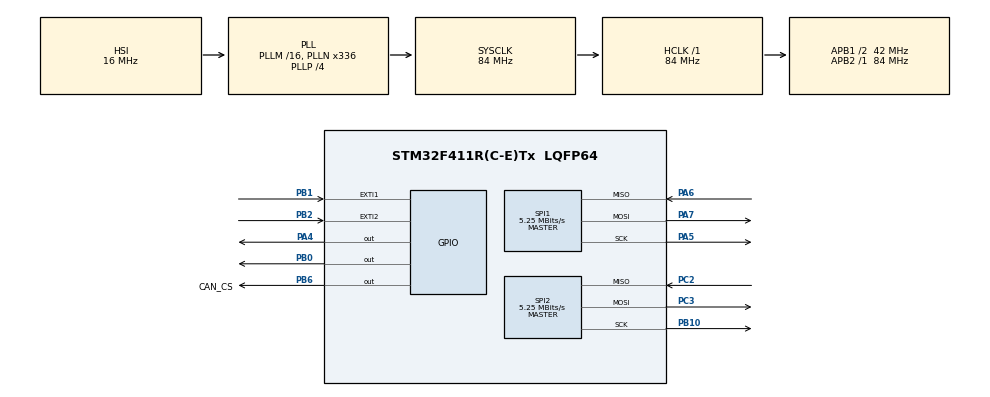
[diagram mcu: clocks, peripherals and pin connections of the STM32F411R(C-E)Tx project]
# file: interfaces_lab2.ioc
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Mcu.Family=STM32F4
Mcu.Name=STM32F411R(C-E)Tx
Mcu.Package=LQFP64
NVIC.EXTI1_IRQn=true\:0\:0\:false\:false\:true\:true\:true
NVIC.EXTI2_IRQn=true\:0\:0\:false\:false\:true\:true\:true
NVIC.PriorityGroup=NVIC_PRIORITYGROUP_0
PA13.GPIO_Label=TMS
PA13.Mode=Serial_Wire
PA13.Signal=SYS_JTMS-SWDIO
PA14.GPIO_Label=TCK
PA14.Mode=Serial_Wire
PA14.Signal=SYS_JTCK-SWCLK
PA4.Signal=GPIO_Output
PA5.Mode=Full_Duplex_Master
PA5.Signal=SPI1_SCK
PA6.Mode=Full_Duplex_Master
PA6.Signal=SPI1_MISO
PA7.Mode=Full_Duplex_Master
PA7.Signal=SPI1_MOSI
PB0.Signal=GPIO_Output
PB1.Signal=GPXTI1
PB10.Mode=Full_Duplex_Master
PB10.Signal=SPI2_SCK
PB2.Signal=GPXTI2
PB3.GPIO_Label=SWO
PB3.Signal=SYS_JTDO-SWO
PB6.GPIO_Label=CAN_CS
PB6.GPIO_Speed=GPIO_SPEED_FREQ_MEDIUM
PB6.PinState=GPIO_PIN_SET
PB6.Signal=GPIO_Output
PC2.Mode=Full_Duplex_Master
PC2.Signal=SPI2_MISO
PC3.Mode=Full_Duplex_Master
PC3.Signal=SPI2_MOSI
PH0\ -\ OSC_IN.Mode=HSE-External-Oscillator
PH0\ -\ OSC_IN.Signal=RCC_OSC_IN
PH1\ -\ OSC_OUT.Mode=HSE-External-Oscillator
PH1\ -\ OSC_OUT.Signal=RCC_OSC_OUT
ProjectManager.HeapSize=0x200
ProjectManager.StackSize=0x400
ProjectManager.TargetToolchain=TrueSTUDIO
RCC.48MHZClocksFreq_Value=84000000
RCC.AHBFreq_Value=84000000
RCC.APB1CLKDivider=RCC_HCLK_DIV2
RCC.APB1Freq_Value=42000000
RCC.APB1TimFreq_Value=84000000
RCC.APB2Freq_Value=84000000
RCC.APB2TimFreq_Value=84000000
RCC.CortexFreq_Value=84000000
RCC.FLatency-AdvancedSettings=FLASH_LATENCY_2
RCC.HCLKFreq_Value=84000000
RCC.HSE_VALUE=8000000
RCC.HSI_VALUE=16000000
RCC.LSE_VALUE=32768
RCC.PLLN=336
RCC.PLLP=RCC_PLLP_DIV4
RCC.SYSCLKFreq_VALUE=84000000
RCC.SYSCLKSource=RCC_SYSCLKSOURCE_PLLCLK
RCC.VCOOutputFreq_Value=336000000
SPI1.BaudRatePrescaler=SPI_BAUDRATEPRESCALER_16
SPI1.CalculateBaudRate=5.25 MBits/s
SPI1.Direction=SPI_DIRECTION_2LINES
SPI1.Mode=SPI_MODE_MASTER
SPI1.VirtualType=VM_MASTER
SPI2.BaudRatePrescaler=SPI_BAUDRATEPRESCALER_8
SPI2.CalculateBaudRate=5.25 MBits/s
SPI2.Direction=SPI_DIRECTION_2LINES
SPI2.Mode=SPI_MODE_MASTER
SPI2.VirtualType=VM_MASTER
board=NUCLEO-F411RE

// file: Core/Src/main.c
/* USER CODE BEGIN Header */
/**
  ******************************************************************************
  * @file           : main.c
  * @brief          : Main program body
  ******************************************************************************
  * @attention
  *
  * <h2><center>&copy; Copyright (c) 2021 STMicroelectronics.
  * All rights reserved.</center></h2>
  *
  * This software component is licensed by ST under BSD 3-Clause license,
  * the "License"; You may not use this file except in compliance with the
  * License. You may obtain a copy of the License at:
  *                        opensource.org/licenses/BSD-3-Clause
  *
  ******************************************************************************
  */
/* USER CODE END Header */
#include "main.h"
/* USER CODE BEGIN Includes */
#include "CANSPI.h"
#include "MPU9250.h"
#include <math.h>
/* USER CODE END Includes */

SPI_HandleTypeDef hspi1;
SPI_HandleTypeDef hspi2;

/* USER CODE BEGIN PV */
uint8_t irq_mcu9250 = 0;

int32_t ACCEL_X = 0;
int32_t ACCEL_Y = 0;
int32_t ACCEL_Z = 0;

int32_t ACCEL_XANGLE = 0;
int32_t ACCEL_YANGLE = 0;
int32_t ACCEL_ZANGLE = 0;

uCAN_MSG txMessage;
uCAN_MSG rxMessage;

/* USER CODE END PV */

void SystemClock_Config(void);
static void MX_GPIO_Init(void);
static void MX_SPI1_Init(void);
static void MX_SPI2_Init(void);
/* USER CODE BEGIN PFP */
void PhysVectorsToAccel();
void AccelToAngel();
void SerializeData(char* buff, int16_t val1, int16_t val2, int16_t val3);
/* USER CODE END PFP */

int main(void)
{

  /* MCU Configuration--------------------------------------------------------*/

  /* Reset of all peripherals, Initializes the Flash interface and the Systick. */
  HAL_Init();

  /* Configure the system clock */
  SystemClock_Config();

  /* Initialize all configured peripherals */
  MX_GPIO_Init();
  MX_SPI1_Init();
  MX_SPI2_Init();
  /* USER CODE BEGIN 2 */
  int st;
  st = MPU_begin();
  HAL_Delay(100);
  enableDataReadyInterrupt();
  HAL_Delay(100);
  setSrd(0);

  CANSPI_Initialize();
  /* USER CODE END 2 */

  /* Infinite loop */
  while (1)
  {

    /* USER CODE BEGIN 3 */
	  if(irq_mcu9250 == 1) {
		  irq_mcu9250 = 0;

		  if(CANSPI_Receive(&rxMessage)) { //if received request frame
			  AccelToAngel(); //get angels in global vars

			if(rxMessage.frame.id == 0x12) { //id frame that request ACCEL_XANGLE
				txMessage.frame.idType = rxMessage.frame.idType;
				txMessage.frame.id = rxMessage.frame.id;
				txMessage.frame.dlc = rxMessage.frame.dlc;
				txMessage.frame.data0 = (ACCEL_XANGLE >> 24) & 0xFF;
				txMessage.frame.data1 = (ACCEL_XANGLE >> 16) & 0xFF;
				txMessage.frame.data2 = (ACCEL_XANGLE >> 8) & 0xFF;
				txMessage.frame.data3 = ACCEL_XANGLE & 0xFF;
				txMessage.frame.data4 = 0;
				txMessage.frame.data5 = 0;
				txMessage.frame.data6 = 0;
				txMessage.frame.data7 = 0;
				CANSPI_Transmit(&txMessage);

			} else if(rxMessage.frame.id == 0x13) { //id frame that request ACCEL_YANGLE
				txMessage.frame.idType = rxMessage.frame.idType;
				txMessage.frame.id = rxMessage.frame.id;
				txMessage.frame.dlc = rxMessage.frame.dlc;
				txMessage.frame.data0 = (ACCEL_YANGLE >> 24) & 0xFF;
				txMessage.frame.data1 = (ACCEL_YANGLE >> 16) & 0xFF;
				txMessage.frame.data2 = (ACCEL_YANGLE >> 8) & 0xFF;
				txMessage.frame.data3 = ACCEL_YANGLE & 0xFF;
				txMessage.frame.data4 = 0;
				txMessage.frame.data5 = 0;
				txMessage.frame.data6 = 0;
				txMessage.frame.data7 = 0;
				CANSPI_Transmit(&txMessage);

			} else if(rxMessage.frame.id == 0x14) { //id frame that request ACCEL_ZANGLE
				txMessage.frame.idType = rxMessage.frame.idType;
				txMessage.frame.id = rxMessage.frame.id;
				txMessage.frame.dlc = rxMessage.frame.dlc;
				txMessage.frame.data0 = (ACCEL_ZANGLE >> 24) & 0xFF;
				txMessage.frame.data1 = (ACCEL_ZANGLE >> 16) & 0xFF;
				txMessage.frame.data2 = (ACCEL_ZANGLE >> 8) & 0xFF;
				txMessage.frame.data3 = ACCEL_ZANGLE & 0xFF;
				txMessage.frame.data4 = 0;
				txMessage.frame.data5 = 0;
				txMessage.frame.data6 = 0;
				txMessage.frame.data7 = 0;
				CANSPI_Transmit(&txMessage);
			}
		  }

		  //Send 3-axys accel in package every 800ms
		  PhysVectorsToAccel(); //get accel in global vars

		  //Package 1. Transmit ACCEL_X
		  txMessage.frame.idType = dSTANDARD_CAN_MSG_ID_2_0B;
		  txMessage.frame.id = 0x82; //id packages with accel
		  txMessage.frame.dlc = 8;
		  txMessage.frame.data0 = (ACCEL_X >> 24) & 0xFF;
		  txMessage.frame.data1 = (ACCEL_X >> 16) & 0xFF;
		  txMessage.frame.data2 = (ACCEL_X >> 8) & 0xFF;
		  txMessage.frame.data3 = ACCEL_X & 0xFF;
		  txMessage.frame.data4 = 0;
		  txMessage.frame.data5 = 0;
		  txMessage.frame.data6 = 0;
		  txMessage.frame.data7 = 0;
		  CANSPI_Transmit(&txMessage);

		  //Package 2. Transmit ACCEL_Y
		  txMessage.frame.idType = dSTANDARD_CAN_MSG_ID_2_0B;
		  txMessage.frame.id = 0x83; //id packages with accel
		  txMessage.frame.dlc = 8;
		  txMessage.frame.data0 = (ACCEL_Y >> 24) & 0xFF;
		  txMessage.frame.data1 = (ACCEL_Y >> 16) & 0xFF;
		  txMessage.frame.data2 = (ACCEL_Y >> 8) & 0xFF;
		  txMessage.frame.data3 = ACCEL_Y & 0xFF;
		  txMessage.frame.data4 = 0;
		  txMessage.frame.data5 = 0;
		  txMessage.frame.data6 = 0;
		  txMessage.frame.data7 = 0;
		  CANSPI_Transmit(&txMessage);

		  //Package 3. Transmit ACCEL_Z
		  txMessage.frame.idType = dSTANDARD_CAN_MSG_ID_2_0B;
		  txMessage.frame.id = 0x84; //id packages with accel
		  txMessage.frame.dlc = 8;
		  txMessage.frame.data0 = (ACCEL_Z >> 24) & 0xFF;
		  txMessage.frame.data1 = (ACCEL_Z >> 16) & 0xFF;
		  txMessage.frame.data2 = (ACCEL_Z >> 8) & 0xFF;
		  txMessage.frame.data3 = ACCEL_Z & 0xFF;
		  txMessage.frame.data4 = 0;
		  txMessage.frame.data5 = 0;
		  txMessage.frame.data6 = 0;
		  txMessage.frame.data7 = 0;
		  CANSPI_Transmit(&txMessage);

		  HAL_Delay(800);
	  }
  }
  /* USER CODE END 3 */
}

void SystemClock_Config(void)
{
  RCC_OscInitTypeDef RCC_OscInitStruct = {0};
  RCC_ClkInitTypeDef RCC_ClkInitStruct = {0};

  /** Configure the main internal regulator output voltage
  */
  __HAL_RCC_PWR_CLK_ENABLE();
  __HAL_PWR_VOLTAGESCALING_CONFIG(PWR_REGULATOR_VOLTAGE_SCALE1);
  /** Initializes the RCC Oscillators according to the specified parameters
  * in the RCC_OscInitTypeDef structure.
  */
  RCC_OscInitStruct.OscillatorType = RCC_OSCILLATORTYPE_HSI;
  RCC_OscInitStruct.HSIState = RCC_HSI_ON;
  RCC_OscInitStruct.HSICalibrationValue = RCC_HSICALIBRATION_DEFAULT;
  RCC_OscInitStruct.PLL.PLLState = RCC_PLL_ON;
  RCC_OscInitStruct.PLL.PLLSource = RCC_PLLSOURCE_HSI;
  RCC_OscInitStruct.PLL.PLLM = 16;
  RCC_OscInitStruct.PLL.PLLN = 336;
  RCC_OscInitStruct.PLL.PLLP = RCC_PLLP_DIV4;
  RCC_OscInitStruct.PLL.PLLQ = 4;
  if (HAL_RCC_OscConfig(&RCC_OscInitStruct) != HAL_OK)
  {
    Error_Handler();
  }
  /** Initializes the CPU, AHB and APB buses clocks
  */
  RCC_ClkInitStruct.ClockType = RCC_CLOCKTYPE_HCLK|RCC_CLOCKTYPE_SYSCLK
                              |RCC_CLOCKTYPE_PCLK1|RCC_CLOCKTYPE_PCLK2;
  RCC_ClkInitStruct.SYSCLKSource = RCC_SYSCLKSOURCE_PLLCLK;
  RCC_ClkInitStruct.AHBCLKDivider = RCC_SYSCLK_DIV1;
  RCC_ClkInitStruct.APB1CLKDivider = RCC_HCLK_DIV2;
  RCC_ClkInitStruct.APB2CLKDivider = RCC_HCLK_DIV1;

  if (HAL_RCC_ClockConfig(&RCC_ClkInitStruct, FLASH_LATENCY_2) != HAL_OK)
  {
    Error_Handler();
  }
}

static void MX_SPI1_Init(void)
{

  /* SPI1 parameter configuration*/
  hspi1.Instance = SPI1;
  hspi1.Init.Mode = SPI_MODE_MASTER;
  hspi1.Init.Direction = SPI_DIRECTION_2LINES;
  hspi1.Init.DataSize = SPI_DATASIZE_8BIT;
  hspi1.Init.CLKPolarity = SPI_POLARITY_LOW;
  hspi1.Init.CLKPhase = SPI_PHASE_1EDGE;
  hspi1.Init.NSS = SPI_NSS_SOFT;
  hspi1.Init.BaudRatePrescaler = SPI_BAUDRATEPRESCALER_16;
  hspi1.Init.FirstBit = SPI_FIRSTBIT_MSB;
  hspi1.Init.TIMode = SPI_TIMODE_DISABLE;
  hspi1.Init.CRCCalculation = SPI_CRCCALCULATION_DISABLE;
  hspi1.Init.CRCPolynomial = 10;
  if (HAL_SPI_Init(&hspi1) != HAL_OK)
  {
    Error_Handler();
  }

}

static void MX_SPI2_Init(void)
{

  /* SPI2 parameter configuration*/
  hspi2.Instance = SPI2;
  hspi2.Init.Mode = SPI_MODE_MASTER;
  hspi2.Init.Direction = SPI_DIRECTION_2LINES;
  hspi2.Init.DataSize = SPI_DATASIZE_8BIT;
  hspi2.Init.CLKPolarity = SPI_POLARITY_LOW;
  hspi2.Init.CLKPhase = SPI_PHASE_1EDGE;
  hspi2.Init.NSS = SPI_NSS_SOFT;
  hspi2.Init.BaudRatePrescaler = SPI_BAUDRATEPRESCALER_8;
  hspi2.Init.FirstBit = SPI_FIRSTBIT_MSB;
  hspi2.Init.TIMode = SPI_TIMODE_DISABLE;
  hspi2.Init.CRCCalculation = SPI_CRCCALCULATION_DISABLE;
  hspi2.Init.CRCPolynomial = 10;
  if (HAL_SPI_Init(&hspi2) != HAL_OK)
  {
    Error_Handler();
  }

}

static void MX_GPIO_Init(void)
{
  GPIO_InitTypeDef GPIO_InitStruct = {0};

  /* GPIO Ports Clock Enable */
  __HAL_RCC_GPIOH_CLK_ENABLE();
  __HAL_RCC_GPIOC_CLK_ENABLE();
  __HAL_RCC_GPIOA_CLK_ENABLE();
  __HAL_RCC_GPIOB_CLK_ENABLE();

  /*Configure GPIO pin Output Level */
  HAL_GPIO_WritePin(GPIOA, GPIO_PIN_4, GPIO_PIN_RESET);

  /*Configure GPIO pin Output Level */
  HAL_GPIO_WritePin(GPIOB, GPIO_PIN_0, GPIO_PIN_RESET);

  /*Configure GPIO pin Output Level */
  HAL_GPIO_WritePin(CAN_CS_GPIO_Port, CAN_CS_Pin, GPIO_PIN_SET);

  /*Configure GPIO pin : PA4 */
  GPIO_InitStruct.Pin = GPIO_PIN_4;
  GPIO_InitStruct.Mode = GPIO_MODE_OUTPUT_PP;
  GPIO_InitStruct.Pull = GPIO_NOPULL;
  GPIO_InitStruct.Speed = GPIO_SPEED_FREQ_LOW;
  HAL_GPIO_Init(GPIOA, &GPIO_InitStruct);

  /*Configure GPIO pin : PB0 */
  GPIO_InitStruct.Pin = GPIO_PIN_0;
  GPIO_InitStruct.Mode = GPIO_MODE_OUTPUT_PP;
  GPIO_InitStruct.Pull = GPIO_NOPULL;
  GPIO_InitStruct.Speed = GPIO_SPEED_FREQ_LOW;
  HAL_GPIO_Init(GPIOB, &GPIO_InitStruct);

  /*Configure GPIO pins : PB1 PB2 */
  GPIO_InitStruct.Pin = GPIO_PIN_1|GPIO_PIN_2;
  GPIO_InitStruct.Mode = GPIO_MODE_IT_RISING;
  GPIO_InitStruct.Pull = GPIO_NOPULL;
  HAL_GPIO_Init(GPIOB, &GPIO_InitStruct);

  /*Configure GPIO pin : CAN_CS_Pin */
  GPIO_InitStruct.Pin = CAN_CS_Pin;
  GPIO_InitStruct.Mode = GPIO_MODE_OUTPUT_PP;
  GPIO_InitStruct.Pull = GPIO_NOPULL;
  GPIO_InitStruct.Speed = GPIO_SPEED_FREQ_MEDIUM;
  HAL_GPIO_Init(CAN_CS_GPIO_Port, &GPIO_InitStruct);

  /* EXTI interrupt init*/
  HAL_NVIC_SetPriority(EXTI1_IRQn, 0, 0);
  HAL_NVIC_EnableIRQ(EXTI1_IRQn);

  HAL_NVIC_SetPriority(EXTI2_IRQn, 0, 0);
  HAL_NVIC_EnableIRQ(EXTI2_IRQn);

}

/* USER CODE BEGIN 4 */
void PhysVectorsToAccel() {
	 readSensor(); //get data from registers
	 ACCEL_X = _axcounts * 256 + _gxcounts;
	 ACCEL_Y = _aycounts * 256 + _gycounts;
	 ACCEL_Z = _azcounts * 256 + _gzcounts;
}

void AccelToAngel() {
	 PhysVectorsToAccel();

	 ACCEL_XANGLE = 57.295* atan((float)-ACCEL_X/ sqrt(pow((float)ACCEL_Y, 2)+ pow((float)ACCEL_Z, 2)));
	 ACCEL_YANGLE = 57.295* atan((float)-ACCEL_Y/ sqrt(pow((float)ACCEL_X, 2)+ pow((float)ACCEL_Z, 2)));
	 ACCEL_ZANGLE = 57.295* atan((float)-ACCEL_Z/ sqrt(pow((float)ACCEL_X, 2)+ pow((float)ACCEL_Y, 2)));
}

void SerializeData(char* buff, int16_t val1, int16_t val2, int16_t val3) {

}

void HAL_GPIO_EXTI_Callback(uint16_t GPIO_Pin)
{
	if (GPIO_Pin==GPIO_PIN_1) //PB1 EXTI1 (from MPU9250)
	{
		irq_mcu9250 = 1;
	}
}

/* USER CODE END 4 */

void Error_Handler(void)
{
  __disable_irq();
  while (1)
  {
  }
}

/************************ (C) COPYRIGHT STMicroelectronics *****END OF FILE****/
